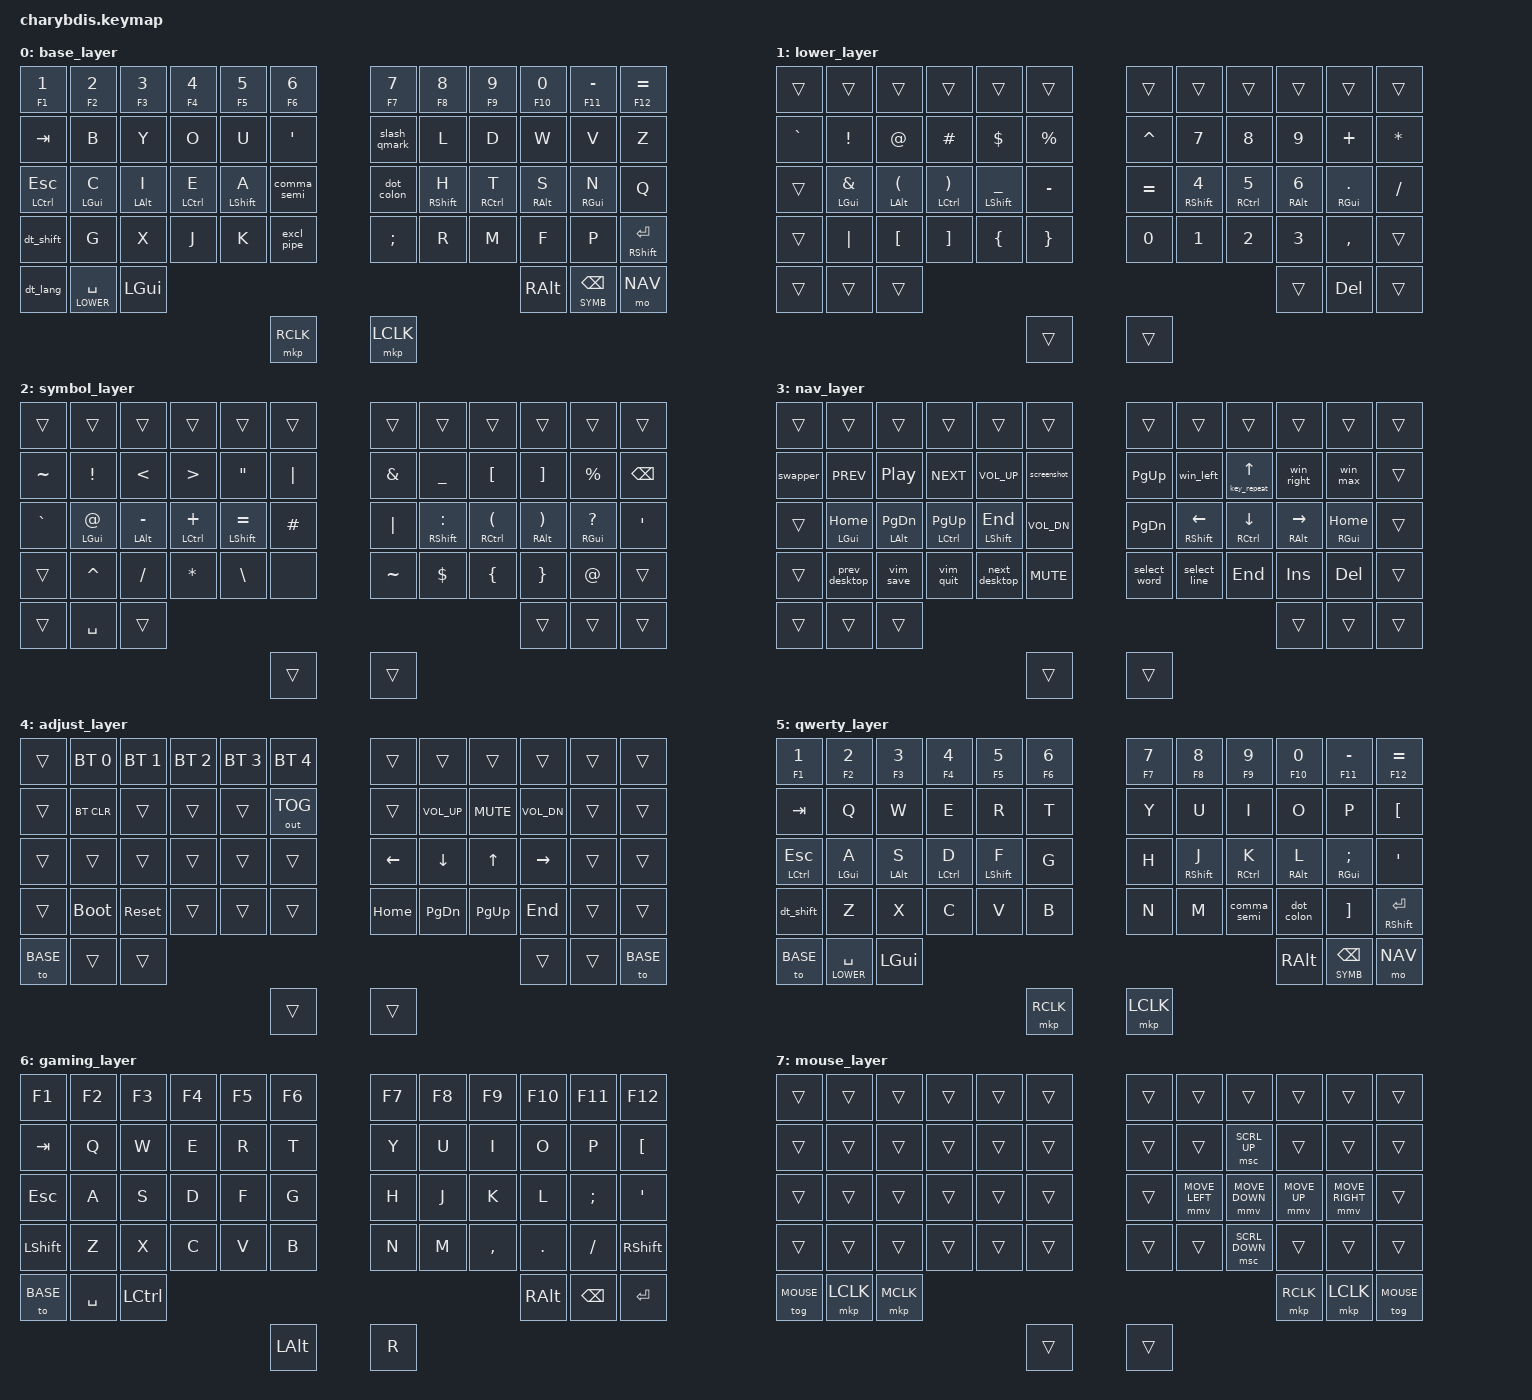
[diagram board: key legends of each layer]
/*
    Максимально эргономичный ZMK конфиг для Charybdis 4x6
    Включает все современные техники для комфортного набора
    Copyright (c) 2023 The ZMK Contributors
    SPDX-License-Identifier: MIT
*/

#include <behaviors.dtsi>
#include <dt-bindings/zmk/keys.h>
#include <dt-bindings/zmk/bt.h>
#include <dt-bindings/zmk/outputs.h>
#include <dt-bindings/zmk/mouse.h>

#define BASE 0
#define LOWER 1
#define SYMB 2
#define NAV 3
#define ADJUST 4
#define QWERTY 5
#define GAMING 6
#define MOUSE 7

// Оптимизированные глобальные настройки
&lt {
    tapping-term-ms = <180>;
    quick-tap-ms = <120>;
    flavor = "balanced";
    require-prior-idle-ms = <120>;
    retro-tap;
};

&mt {
    tapping-term-ms = <190>;
    quick-tap-ms = <120>;
    flavor = "balanced";
    require-prior-idle-ms = <120>;
    retro-tap;
};

&sk {
    release-after-ms = <1500>;
    quick-release;
    ignore-modifiers;
};

&caps_word {
    continue-list = <UNDERSCORE MINUS BACKSPACE DELETE>;
};

/ {
    combos {
        compatible = "zmk,combos";
        
        // Частые символы одной рукой
        combo_esc {
            timeout-ms = <40>;
            key-positions = <13 14>;
            bindings = <&kp ESC>;
            layers = <BASE QWERTY>;
        };
        
        combo_tab {
            timeout-ms = <40>;
            key-positions = <25 26>;
            bindings = <&kp TAB>;
            layers = <BASE QWERTY>;
        };
        
        combo_enter {
            timeout-ms = <40>;
            key-positions = <33 34>;
            bindings = <&kp ENTER>;
            layers = <BASE QWERTY>;
        };
        
        combo_del {
            timeout-ms = <40>;
            key-positions = <21 22>;
            bindings = <&kp DEL>;
            layers = <BASE QWERTY>;
        };
        
        // Скобки разных типов
        combo_lpar {
            timeout-ms = <40>;
            key-positions = <15 16>;
            bindings = <&kp LPAR>;
            layers = <BASE QWERTY>;
        };
        
        combo_rpar {
            timeout-ms = <40>;
            key-positions = <19 20>;
            bindings = <&kp RPAR>;
            layers = <BASE QWERTY>;
        };
        
        combo_lbkt {
            timeout-ms = <40>;
            key-positions = <3 4>;
            bindings = <&kp LBKT>;
            layers = <BASE QWERTY>;
        };
        
        combo_rbkt {
            timeout-ms = <40>;
            key-positions = <7 8>;
            bindings = <&kp RBKT>;
            layers = <BASE QWERTY>;
        };
        
        combo_lbrc {
            timeout-ms = <40>;
            key-positions = <27 28>;
            bindings = <&kp LBRC>;
            layers = <BASE QWERTY>;
        };
        
        combo_rbrc {
            timeout-ms = <40>;
            key-positions = <31 32>;
            bindings = <&kp RBRC>;
            layers = <BASE QWERTY>;
        };
        
        // Специальные функции
        combo_caps_word {
            timeout-ms = <40>;
            key-positions = <16 19>;
            bindings = <&caps_word>;
            layers = <BASE QWERTY>;
        };
        
        combo_cut {
            timeout-ms = <40>;
            key-positions = <26 27>;
            bindings = <&kp LC(X)>;
            layers = <BASE QWERTY>;
        };
        
        combo_copy {
            timeout-ms = <40>;
            key-positions = <27 28>;
            bindings = <&kp LC(C)>;
            layers = <BASE QWERTY>;
        };
        
        combo_paste {
            timeout-ms = <40>;
            key-positions = <28 29>;
            bindings = <&kp LC(V)>;
            layers = <BASE QWERTY>;
        };
        
        combo_undo {
            timeout-ms = <40>;
            key-positions = <25 27>;
            bindings = <&kp LC(Z)>;
            layers = <BASE QWERTY>;
        };
        
        combo_redo {
            timeout-ms = <40>;
            key-positions = <25 28>;
            bindings = <&kp LC(LS(Z))>;
            layers = <BASE QWERTY>;
        };
        
        // Быстрый доступ к слоям
        combo_mouse {
            timeout-ms = <50>;
            key-positions = <38 39>;
            bindings = <&tog MOUSE>;
            layers = <BASE>;
        };
        
        // Частые символы программирования
        combo_arrow {
            timeout-ms = <40>;
            key-positions = <20 21>;
            bindings = <&arrow_macro>;
            layers = <BASE QWERTY>;
        };
        
        combo_fat_arrow {
            timeout-ms = <40>;
            key-positions = <32 33>;
            bindings = <&fat_arrow_macro>;
            layers = <BASE QWERTY>;
        };
        
        combo_pipe_pipe {
            timeout-ms = <40>;
            key-positions = <8 9>;
            bindings = <&pipe_pipe_macro>;
            layers = <BASE QWERTY>;
        };
        
        combo_amp_amp {
            timeout-ms = <40>;
            key-positions = <2 3>;
            bindings = <&amp_amp_macro>;
            layers = <BASE QWERTY>;
        };
    };

    behaviors {
        // Улучшенные home row mods с bilateral отключением
        hml: homerow_mods_left {
            compatible = "zmk,behavior-hold-tap";
            #binding-cells = <2>;
            tapping-term-ms = <280>;
            quick-tap-ms = <175>;
            flavor = "balanced";
            bindings = <&kp>, <&kp>;
            hold-trigger-key-positions = <6 7 8 9 10 11 18 19 20 21 22 23 30 31 32 33 34 35 39 40 41 42 43>;
            hold-trigger-on-release;
            require-prior-idle-ms = <150>;
        };

        hmr: homerow_mods_right {
            compatible = "zmk,behavior-hold-tap";
            #binding-cells = <2>;
            tapping-term-ms = <280>;
            quick-tap-ms = <175>;
            flavor = "balanced";
            bindings = <&kp>, <&kp>;
            hold-trigger-key-positions = <0 1 2 3 4 5 12 13 14 15 16 17 24 25 26 27 28 29 36 37 38>;
            hold-trigger-on-release;
            require-prior-idle-ms = <150>;
        };
        
        // Улучшенный Ctrl/Esc с retro-tap
        mt_lctl_esc: mt_lctl_esc {
            compatible = "zmk,behavior-hold-tap";
            #binding-cells = <2>;
            tapping-term-ms = <175>;
            quick-tap-ms = <120>;
            flavor = "balanced";
            bindings = <&kp>, <&kp>;
            require-prior-idle-ms = <120>;
            retro-tap;
        };

        mt_rsft_ent: mt_rsft_ent {
            compatible = "zmk,behavior-hold-tap";
            #binding-cells = <2>;
            tapping-term-ms = <190>;
            quick-tap-ms = <120>;
            flavor = "balanced";
            bindings = <&kp>, <&kp>;
            require-prior-idle-ms = <120>;
            retro-tap;
        };

        // Sticky keys с настройками для комфорта
        ss: sticky_shift {
            compatible = "zmk,behavior-sticky-key";
            #binding-cells = <1>;
            bindings = <&kp>;
            release-after-ms = <1200>;
            quick-release;
            ignore-modifiers;
        };
        
        // Интеллектуальная смена слоя/клавиши
        smart_layer: smart_layer {
            compatible = "zmk,behavior-hold-tap";
            #binding-cells = <2>;
            tapping-term-ms = <190>;
            quick-tap-ms = <120>;
            flavor = "balanced";
            bindings = <&mo>, <&kp>;
            require-prior-idle-ms = <120>;
            retro-tap;
        };

        // Tap dance для множественных функций
        dt_lang: dt_lang {
            compatible = "zmk,behavior-tap-dance";
            #binding-cells = <0>;
            tapping-term-ms = <250>;
            bindings = <&lang_switch>, <&to QWERTY>, <&to GAMING>;
        };
        
        dt_shift: dt_shift {
            compatible = "zmk,behavior-tap-dance";
            #binding-cells = <0>;
            tapping-term-ms = <200>;
            bindings = <&ss LSHFT>, <&caps_word>, <&kp CAPS>;
        };

        // Mod morphs для символов
        comma_semi: comma_semicolon {
            compatible = "zmk,behavior-mod-morph";
            #binding-cells = <0>;
            bindings = <&kp COMMA>, <&kp SEMICOLON>;
            mods = <(MOD_LSFT|MOD_RSFT)>;
        };

        dot_colon: dot_colon {
            compatible = "zmk,behavior-mod-morph";
            #binding-cells = <0>;
            bindings = <&kp DOT>, <&kp COLON>;
            mods = <(MOD_LSFT|MOD_RSFT)>;
        };
        
        slash_qmark: slash_question {
            compatible = "zmk,behavior-mod-morph";
            #binding-cells = <0>;
            bindings = <&kp FSLH>, <&kp QMARK>;
            mods = <(MOD_LSFT|MOD_RSFT)>;
        };
        
        excl_pipe: exclamation_pipe {
            compatible = "zmk,behavior-mod-morph";
            #binding-cells = <0>;
            bindings = <&kp EXCL>, <&kp PIPE>;
            mods = <(MOD_LSFT|MOD_RSFT)>;
        };

        // Smart numbers (tap цифра, hold F-клавиша)
        smart_num: smart_number {
            compatible = "zmk,behavior-hold-tap";
            #binding-cells = <2>;
            tapping-term-ms = <180>;
            flavor = "tap-preferred";
            bindings = <&kp>, <&kp>;
        };
        
        // Автоматический repeat для навигации
        nav_repeat: navigation_repeat {
            compatible = "zmk,behavior-hold-tap";
            #binding-cells = <2>;
            tapping-term-ms = <200>;
            flavor = "tap-preferred";
            bindings = <&key_repeat>, <&kp>;
        };
        
        // Swapper для Alt-Tab
        swapper: swapper {
            compatible = "zmk,behavior-tri-state";
            #binding-cells = <0>;
            bindings = <&kt LALT>, <&kp TAB>, <&kt LALT>;
            ignored-key-positions = <1>;
        };
    };

    macros {
        // Переключение языка
        lang_switch: lang_switch {
            compatible = "zmk,behavior-macro";
            #binding-cells = <0>;
            wait-ms = <0>;
            tap-ms = <5>;
            bindings = <&macro_press &kp LGUI>,
                       <&macro_tap &kp SPACE>,
                       <&macro_release &kp LGUI>;
        };

        // Навигация по рабочим столам
        next_desktop: next_desktop {
            compatible = "zmk,behavior-macro";
            #binding-cells = <0>;
            wait-ms = <0>;
            tap-ms = <5>;
            bindings = <&macro_press &kp LCTRL>,
                       <&macro_tap &kp RIGHT>,
                       <&macro_release &kp LCTRL>;
        };

        prev_desktop: prev_desktop {
            compatible = "zmk,behavior-macro";
            #binding-cells = <0>;
            wait-ms = <0>;
            tap-ms = <5>;
            bindings = <&macro_press &kp LCTRL>,
                       <&macro_tap &kp LEFT>,
                       <&macro_release &kp LCTRL>;
        };

        // Оконный менеджмент
        win_max: window_maximize {
            compatible = "zmk,behavior-macro";
            #binding-cells = <0>;
            wait-ms = <0>;
            tap-ms = <5>;
            bindings = <&macro_press &kp LGUI>,
                       <&macro_tap &kp UP>,
                       <&macro_release &kp LGUI>;
        };

        win_left: window_left {
            compatible = "zmk,behavior-macro";
            #binding-cells = <0>;
            wait-ms = <0>;
            tap-ms = <5>;
            bindings = <&macro_press &kp LGUI>,
                       <&macro_tap &kp LEFT>,
                       <&macro_release &kp LGUI>;
        };

        win_right: window_right {
            compatible = "zmk,behavior-macro";
            #binding-cells = <0>;
            wait-ms = <0>;
            tap-ms = <5>;
            bindings = <&macro_press &kp LGUI>,
                       <&macro_tap &kp RIGHT>,
                       <&macro_release &kp LGUI>;
        };

        // Быстрые действия
        screenshot: screenshot {
            compatible = "zmk,behavior-macro";
            #binding-cells = <0>;
            wait-ms = <0>;
            tap-ms = <5>;
            bindings = <&macro_press &kp LGUI &kp LSHFT>,
                       <&macro_tap &kp S>,
                       <&macro_release &kp LGUI &kp LSHFT>;
        };

        select_word: select_word {
            compatible = "zmk,behavior-macro";
            #binding-cells = <0>;
            wait-ms = <0>;
            tap-ms = <5>;
            bindings = <&macro_press &kp LCTRL>,
                       <&macro_tap &kp RIGHT>,
                       <&macro_press &kp LSHFT>,
                       <&macro_tap &kp LEFT>,
                       <&macro_release &kp LCTRL &kp LSHFT>;
        };
        
        select_line: select_line {
            compatible = "zmk,behavior-macro";
            #binding-cells = <0>;
            wait-ms = <0>;
            tap-ms = <5>;
            bindings = <&macro_tap &kp HOME>,
                       <&macro_press &kp LSHFT>,
                       <&macro_tap &kp END>,
                       <&macro_release &kp LSHFT>;
        };

        // Символы программирования
        arrow_macro: arrow_macro {
            compatible = "zmk,behavior-macro";
            #binding-cells = <0>;
            wait-ms = <0>;
            tap-ms = <5>;
            bindings = <&macro_tap &kp MINUS &kp GT>;
        };
        
        fat_arrow_macro: fat_arrow_macro {
            compatible = "zmk,behavior-macro";
            #binding-cells = <0>;
            wait-ms = <0>;
            tap-ms = <5>;
            bindings = <&macro_tap &kp EQUAL &kp GT>;
        };
        
        pipe_pipe_macro: pipe_pipe_macro {
            compatible = "zmk,behavior-macro";
            #binding-cells = <0>;
            wait-ms = <0>;
            tap-ms = <5>;
            bindings = <&macro_tap &kp PIPE &kp PIPE>;
        };
        
        amp_amp_macro: amp_amp_macro {
            compatible = "zmk,behavior-macro";
            #binding-cells = <0>;
            wait-ms = <0>;
            tap-ms = <5>;
            bindings = <&macro_tap &kp AMPS &kp AMPS>;
        };
        
        // Эмуляция Vim команд
        vim_save: vim_save {
            compatible = "zmk,behavior-macro";
            #binding-cells = <0>;
            wait-ms = <0>;
            tap-ms = <5>;
            bindings = <&macro_press &kp LCTRL>,
                       <&macro_tap &kp S>,
                       <&macro_release &kp LCTRL>;
        };
        
        vim_quit: vim_quit {
            compatible = "zmk,behavior-macro";
            #binding-cells = <0>;
            wait-ms = <0>;
            tap-ms = <5>;
            bindings = <&macro_press &kp LALT>,
                       <&macro_tap &kp F4>,
                       <&macro_release &kp LALT>;
        };
        
        // Emoji shortcuts
        shrug_macro: shrug_macro {
            compatible = "zmk,behavior-macro";
            #binding-cells = <0>;
            wait-ms = <0>;
            tap-ms = <5>;
            bindings = <&macro_tap &kp BSLH &kp UNDER &kp LPAR &kp TILDE &kp RPAR &kp UNDER &kp FSLH>;
        };
    };

    conditional_layers {
        compatible = "zmk,conditional-layers";
        tri_layer {
            if-layers = <LOWER SYMB>;
            then-layer = <ADJUST>;
        };
    };

    keymap {
        compatible = "zmk,keymap";

        // Основной слой (Colemak-DH)
        base_layer {
            bindings = <
    &smart_num F1 N1   &smart_num F2 N2   &smart_num F3 N3   &smart_num F4 N4   &smart_num F5 N5   &smart_num F6 N6                                           &smart_num F7 N7   &smart_num F8 N8   &smart_num F9 N9   &smart_num F10 N0  &smart_num F11 MINUS &smart_num F12 EQUAL
    &kp TAB            &kp B              &kp Y              &kp O              &kp U              &kp SQT                                                    &slash_qmark       &kp L              &kp D              &kp W              &kp V                &kp Z
    &mt_lctl_esc LCTRL ESC  &hml LGUI C   &hml LALT I        &hml LCTRL E       &hml LSHFT A       &comma_semi                                                &dot_colon         &hmr RSHFT H       &hmr RCTRL T       &hmr RALT S        &hmr RGUI N          &kp Q
    &dt_shift          &kp G              &kp X              &kp J              &kp K              &excl_pipe                                                 &kp SEMI           &kp R              &kp M              &kp F              &kp P                &mt_rsft_ent RSHFT ENTER
                                                             &dt_lang           &smart_layer LOWER SPACE &kp LGUI                                              &kp RALT           &smart_layer SYMB BSPC &mo NAV
                                                                                &mkp RCLK          &mkp LCLK                                                  
            >;
        };

        // Цифры, F-клавиши и математика
        lower_layer {
            bindings = <
    &trans             &trans             &trans             &trans             &trans             &trans                                                     &trans             &trans             &trans             &trans             &trans               &trans
    &kp GRAVE          &kp EXCL           &kp AT             &kp HASH           &kp DLLR           &kp PRCNT                                                  &kp CARET          &kp N7             &kp N8             &kp N9             &kp PLUS             &kp STAR
    &trans             &hml LGUI AMPS     &hml LALT LPAR     &hml LCTRL RPAR    &hml LSHFT UNDER   &kp MINUS                                                  &kp EQUAL          &hmr RSHFT N4      &hmr RCTRL N5      &hmr RALT N6       &hmr RGUI DOT        &kp FSLH
    &trans             &kp PIPE           &kp LBKT           &kp RBKT           &kp LBRC           &kp RBRC                                                   &kp N0             &kp N1             &kp N2             &kp N3             &kp COMMA            &trans
                                                             &trans             &trans             &trans                                                     &trans             &kp DEL            &trans
                                                                                &trans             &trans                                                     
            >;
        };

        // Символы и специальные клавиши
        symbol_layer {
            bindings = <
    &trans             &trans             &trans             &trans             &trans             &trans                                                     &trans             &trans             &trans             &trans             &trans               &trans
    &kp TILDE          &kp EXCL           &kp LT             &kp GT             &kp DQT            &kp PIPE                                                   &kp AMPS           &kp UNDER          &kp LBKT           &kp RBKT           &kp PRCNT            &kp BSPC
    &kp GRAVE          &hml LGUI AT       &hml LALT MINUS    &hml LCTRL PLUS    &hml LSHFT EQUAL   &kp HASH                                                   &kp PIPE           &hmr RSHFT COLON   &hmr RCTRL LPAR    &hmr RALT RPAR     &hmr RGUI QMARK      &kp SQT
    &trans             &kp CARET          &kp FSLH           &kp STAR           &kp BSLH           &none                                                      &kp TILDE          &kp DLLR           &kp LBRC           &kp RBRC           &kp AT               &trans
                                                             &trans             &kp SPACE          &trans                                                     &trans             &trans             &trans
                                                                                &trans             &trans                                                     
            >;
        };

        // Навигация, мультимедиа и системные функции
        nav_layer {
            bindings = <
    &trans             &trans             &trans             &trans             &trans             &trans                                                     &trans             &trans             &trans             &trans             &trans               &trans
    &swapper           &kp C_PREV         &kp C_PP           &kp C_NEXT         &kp C_VOL_UP       &screenshot                                                &kp PG_UP          &win_left          &nav_repeat 0 UP   &win_right         &win_max             &trans
    &trans             &hml LGUI HOME     &hml LALT PG_DN    &hml LCTRL PG_UP   &hml LSHFT END     &kp C_VOL_DN                                               &kp PG_DN          &hmr RSHFT LEFT    &hmr RCTRL DOWN    &hmr RALT RIGHT    &hmr RGUI HOME       &trans
    &trans             &prev_desktop      &vim_save          &vim_quit          &next_desktop      &kp C_MUTE                                                 &select_word       &select_line       &kp END            &kp INS            &kp DEL              &trans
                                                             &trans             &trans             &trans                                                     &trans             &trans             &trans
                                                                                &trans             &trans                                                     
            >;
        };

        // Настройки, Bluetooth и отладка
        adjust_layer {
            bindings = <
    &trans             &bt BT_SEL 0       &bt BT_SEL 1       &bt BT_SEL 2       &bt BT_SEL 3       &bt BT_SEL 4                                               &trans             &trans             &trans             &trans             &trans               &trans
    &trans             &bt BT_CLR         &trans             &trans             &trans             &out OUT_TOG                                               &trans             &kp C_VOL_UP       &kp C_MUTE         &kp C_VOL_DN       &trans               &trans
    &trans             &trans             &trans             &trans             &trans             &trans                                                     &kp LEFT           &kp DOWN           &kp UP             &kp RIGHT          &trans               &trans
    &trans             &bootloader        &sys_reset         &trans             &trans             &trans                                                     &kp HOME           &kp PG_DN          &kp PG_UP          &kp END            &trans               &trans
                                                             &to BASE           &trans             &trans                                                     &trans             &trans             &to BASE
                                                                                &trans             &trans                                                     
            >;
        };

        // QWERTY слой
        qwerty_layer {
            bindings = <
    &smart_num F1 N1   &smart_num F2 N2   &smart_num F3 N3   &smart_num F4 N4   &smart_num F5 N5   &smart_num F6 N6                                           &smart_num F7 N7   &smart_num F8 N8   &smart_num F9 N9   &smart_num F10 N0  &smart_num F11 MINUS &smart_num F12 EQUAL
    &kp TAB            &kp Q              &kp W              &kp E              &kp R              &kp T                                                      &kp Y              &kp U              &kp I              &kp O              &kp P                &kp LBKT
    &mt_lctl_esc LCTRL ESC  &hml LGUI A   &hml LALT S        &hml LCTRL D       &hml LSHFT F       &kp G                                                      &kp H              &hmr RSHFT J       &hmr RCTRL K       &hmr RALT L        &hmr RGUI SEMI       &kp SQT
    &dt_shift          &kp Z              &kp X              &kp C              &kp V              &kp B                                                      &kp N              &kp M              &comma_semi        &dot_colon         &kp RBKT             &mt_rsft_ent RSHFT ENTER
                                                             &to BASE           &smart_layer LOWER SPACE &kp LGUI                                              &kp RALT           &smart_layer SYMB BSPC &mo NAV
                                                                                &mkp RCLK          &mkp LCLK                                                  
            >;
        };

        // Игровой слой (без home row mods)
        gaming_layer {
            bindings = <
    &kp F1             &kp F2             &kp F3             &kp F4             &kp F5             &kp F6                                                     &kp F7             &kp F8             &kp F9             &kp F10            &kp F11              &kp F12
    &kp TAB            &kp Q              &kp W              &kp E              &kp R              &kp T                                                      &kp Y              &kp U              &kp I              &kp O              &kp P                &kp LBKT
    &kp ESC            &kp A              &kp S              &kp D              &kp F              &kp G                                                      &kp H              &kp J              &kp K              &kp L              &kp SEMI             &kp SQT
    &kp LSHFT          &kp Z              &kp X              &kp C              &kp V              &kp B                                                      &kp N              &kp M              &kp COMMA          &kp DOT            &kp SLASH            &kp RSHFT
                                                             &to BASE           &kp SPACE          &kp LCTRL                                                  &kp RALT           &kp BSPC           &kp ENTER
                                                                                &kp LALT           &kp R                                                      
            >;
        };

        // Мышиный слой
        mouse_layer {
            bindings = <
    &trans             &trans             &trans             &trans             &trans             &trans                                                     &trans             &trans             &trans             &trans             &trans               &trans
    &trans             &trans             &trans             &trans             &trans             &trans                                                     &trans             &trans             &msc SCRL_UP       &trans             &trans               &trans
    &trans             &trans             &trans             &trans             &trans             &trans                                                     &trans             &mmv MOVE_LEFT     &mmv MOVE_DOWN     &mmv MOVE_UP       &mmv MOVE_RIGHT      &trans
    &trans             &trans             &trans             &trans             &trans             &trans                                                     &trans             &trans             &msc SCRL_DOWN     &trans             &trans               &trans
                                                             &tog MOUSE         &mkp LCLK          &mkp MCLK                                                  &mkp RCLK          &mkp LCLK          &tog MOUSE
                                                                                &trans             &trans                                                     
            >;
        };
    };
};
